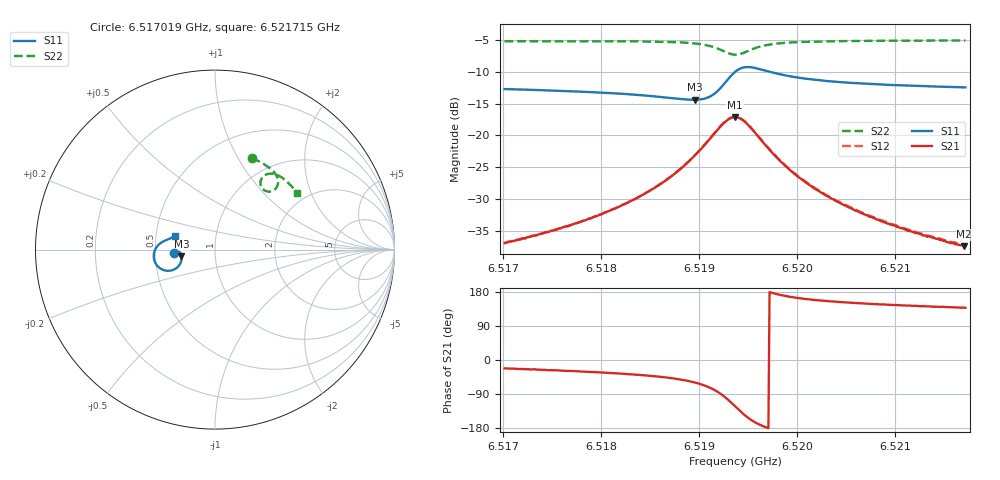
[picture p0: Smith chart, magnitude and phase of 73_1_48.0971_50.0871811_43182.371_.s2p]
#  HZ  S  RI  R  50.00
! Rohde & Schwarz Vector Network Analyzer
! Rohde-Schwarz,ZNB20-2Port,1311601062101988,3.16
! Created: UTC 12/23/2023, 3:41:59 AM
! freq[Hz]  re:S11  im:S11  re:S21  im:S21  re:S12  im:S12  re:S22  im:S22
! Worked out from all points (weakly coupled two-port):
!   401 points, 6.517019 GHz to 6.521715 GHz, reference 50 ohm
!   highest |S21| = -17.15 dB at 6.519367 GHz (marker M1); lowest = -37.4 dB at 6.521703 GHz (marker M2)
!   lowest |S11| = -14.4 dB at 6.518956 GHz (marker M3), VSWR 1.47, Z = 34.2 - j2.58 ohm
!   |S11| at or under -10 dB: start of sweep to 6.51937 GHz; 6.519718 GHz to end of sweep
!   |S22| runs from -7.3 to -5.1 dB; largest |S21 - S12| = 0.0042
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6.5170188e9  -0.2302 -0.0168  0.0132 -0.00538  0.0134 -0.00495  0.205 0.5087
6.5173475e9  -0.2268 -0.012  0.0149 -0.00705  0.015 -0.00651  0.2293 0.4985
6.5178054e9  -0.2203 -0.00666  0.0182 -0.0108  0.0186 -0.0101  0.2632 0.4816
6.5182633e9  -0.2109 -0.00477  0.0235 -0.0177  0.0241 -0.0169  0.2977 0.4596
6.518592e9  -0.2008 -0.00949  0.0292 -0.0283  0.0304 -0.0275  0.3233 0.4375
6.5187681e9  -0.1938 -0.0176  0.0331 -0.0391  0.0344 -0.0382  0.337 0.4209
6.5189559e9  -0.1867 -0.0364  0.0355 -0.0595  0.0375 -0.0589  0.3494 0.3946
6.5190616e9  -0.1867 -0.0561  0.0321 -0.0786  0.0347 -0.0781  0.3517 0.3733
6.5191438e9  -0.1937 -0.0779  0.0223 -0.0984  0.0255 -0.0983  0.3466 0.3529
6.5192729e9  -0.2368 -0.1143  -0.0216 -0.1272  -0.018 -0.1287  0.3132 0.3244
6.5193669e9  -0.295 -0.1105  -0.0735 -0.1178  -0.0705 -0.1208  0.2729 0.3318
6.5194138e9  -0.3201 -0.0918  -0.094 -0.0988  -0.0918 -0.1022  0.2586 0.3483
6.5194725e9  -0.338 -0.0604  -0.1062 -0.0692  -0.1051 -0.0729  0.2531 0.3726
6.5195664e9  -0.3386 -0.0142  -0.1019 -0.0295  -0.1016 -0.0328  0.2652 0.4034
6.5196721e9  -0.3227 0.0175  -0.0847 -0.00498  -0.0852 -0.00746  0.2881 0.4192
6.5199069e9  -0.2897 0.0449  -0.0538 0.0118  -0.0548 0.0104  0.3297 0.421
6.5201535e9  -0.2693 0.0543  -0.0368 0.0141  -0.0377 0.0132  0.3584 0.4098
6.5204939e9  -0.253 0.061  -0.0249 0.0132  -0.0255 0.0126  0.3871 0.3906
6.5209401e9  -0.2398 0.0675  -0.0167 0.0113  -0.0173 0.011  0.4163 0.3643
6.521304e9  -0.2321 0.0726  -0.0128 0.0101  -0.0133 0.00992  0.4368 0.3422
6.5217032e9  -0.2251 0.0781  -0.00999 0.00909  -0.0106 0.0089  0.4566 0.3176
6.521715e9  -0.225 0.0783  -0.0101 0.00911  -0.0104 0.00891  0.457 0.3167
